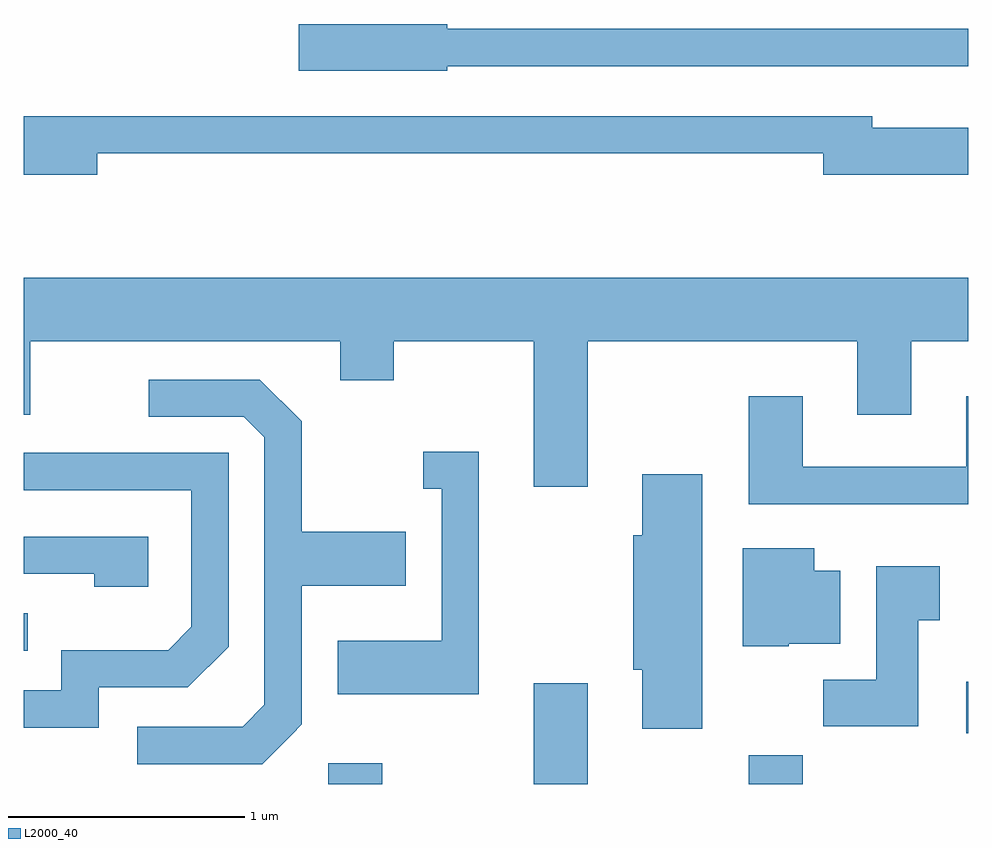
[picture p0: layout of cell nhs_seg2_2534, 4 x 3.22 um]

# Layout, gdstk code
import gdstk
lib = gdstk.Library(unit=1e-6, precision=1e-09)
def R(c, l, rs):  # rectangles x0, y0, x1, y1
    for r in rs: c.add(gdstk.rectangle(r[:2], r[2:], *l))
def P(c, l, *ps):  # polygons
    for p in ps: c.add(gdstk.Polygon(p, *l))
L2000_40 = (2000, 40)

nhs_seg2_2534 = lib.new_cell('nhs_seg2_2534')
R(nhs_seg2_2534, L2000_40, [(260.901,1019.802,261.129,1019.889), (261.771,1019.802,261.999,1020.229), (262.681,1019.802,262.909,1019.924), (263.601,1020.016,263.611,1020.234), (259.611,1020.366,259.628,1020.524)])
P(nhs_seg2_2534, L2000_40, [(261.404,1022.841),(263.611,1022.841),(263.611,1022.999),(261.404,1022.999),(261.404,1023.019),(260.776,1023.019),(260.776,1022.821),(261.404,1022.821)],
  [(259.924,1022.471),(262.996,1022.471),(262.996,1022.381),(263.611,1022.381),(263.611,1022.579),(263.204,1022.579),(263.204,1022.629),(259.611,1022.629),(259.611,1022.381),(259.924,1022.381)],
  [(259.611,1021.366),(259.639,1021.366),(259.639,1021.676),(260.951,1021.676),(260.951,1021.511),(261.179,1021.511),(261.179,1021.676),(261.771,1021.676),(261.771,1021.061),(261.999,1021.061),(261.999,1021.676),(263.141,1021.676),(263.141,1021.366),(263.369,1021.366),(263.369,1021.676),(263.611,1021.676),(263.611,1021.944),(259.611,1021.944)],
  [(260.748,1020.013),(260.789,1020.054),(260.789,1020.641),(261.229,1020.641),(261.229,1020.869),(260.789,1020.869),(260.789,1021.337),(260.611,1021.514),(260.142,1021.514),(260.142,1021.356),(260.544,1021.356),(260.631,1021.269),(260.631,1020.137),(260.539,1020.044),(260.093,1020.044),(260.093,1019.886),(260.622,1019.886)],
  [(263.611,1021.444),(263.601,1021.444),(263.601,1021.144),(262.909,1021.144),(262.909,1021.444),(262.681,1021.444),(262.681,1020.986),(263.611,1020.986)],
  [(261.539,1021.209),(261.303,1021.209),(261.303,1021.051),(261.381,1021.051),(261.381,1020.409),(260.941,1020.409),(260.941,1020.181),(261.539,1020.181)],
  [(259.929,1020.211),(260.307,1020.211),(260.479,1020.384),(260.479,1021.204),(259.611,1021.204),(259.611,1021.046),(260.321,1021.046),(260.321,1020.467),(260.224,1020.369),(259.771,1020.369),(259.771,1020.199),(259.611,1020.199),(259.611,1020.041),(259.929,1020.041)],
  [(262.484,1021.114),(262.231,1021.114),(262.231,1020.854),(262.191,1020.854),(262.191,1020.286),(262.231,1020.286),(262.231,1020.036),(262.484,1020.036)],
  [(260.139,1020.849),(259.611,1020.849),(259.611,1020.691),(259.911,1020.691),(259.911,1020.636),(260.139,1020.636)],
  [(262.85,1020.396),(263.069,1020.396),(263.069,1020.704),(262.959,1020.704),(262.959,1020.799),(262.656,1020.799),(262.656,1020.386),(262.85,1020.386)],
  [(263.399,1020.496),(263.489,1020.496),(263.489,1020.724),(263.221,1020.724),(263.221,1020.244),(262.996,1020.244),(262.996,1020.046),(263.399,1020.046)])

lib.write_gds('nhs_seg2_2534.gds')
